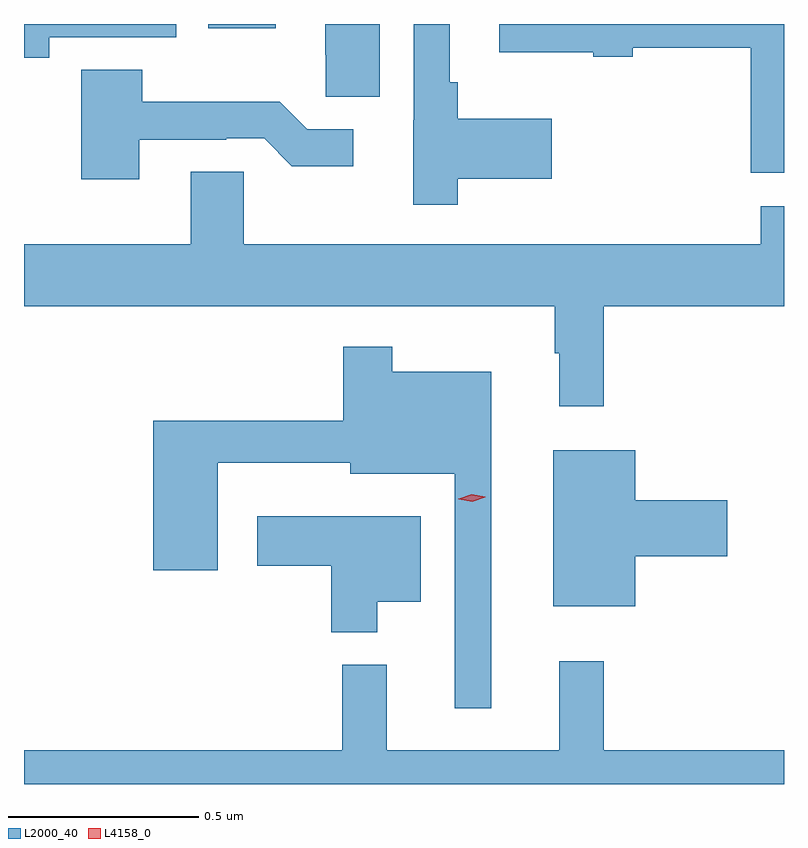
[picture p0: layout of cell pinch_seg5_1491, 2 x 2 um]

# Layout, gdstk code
import gdstk
lib = gdstk.Library(unit=1e-6, precision=1e-09)
def R(c, l, rs):  # rectangles x0, y0, x1, y1
    for r in rs: c.add(gdstk.rectangle(r[:2], r[2:], *l))
def P(c, l, *ps):  # polygons
    for p in ps: c.add(gdstk.Polygon(p, *l))
L2000_40 = (2000, 40)
L4158_0 = (4158, 0)

pinch_seg5_1491 = lib.new_cell('pinch_seg5_1491')
R(pinch_seg5_1491, L2000_40, [(157.485,890.792,157.663,890.803)])
P(pinch_seg5_1491, L2000_40, [(158.141,890.396),(158.389,890.396),(158.389,890.554),(158.141,890.554),(158.141,890.65),(158.121,890.65),(158.121,890.803),(158.025,890.803),(158.025,890.55),(158.024,890.55),(158.024,890.328),(158.141,890.328)],
  [(157.936,890.803),(157.793,890.803),(157.793,890.722),(157.794,890.722),(157.794,890.611),(157.936,890.611)],
  [(157.066,890.768),(157.4,890.768),(157.4,890.803),(157,890.803),(157,890.714),(157.066,890.714)],
  [(159,890.803),(158.25,890.803),(158.25,890.729),(158.498,890.729),(158.498,890.717),(158.602,890.717),(158.602,890.74),(158.912,890.74),(158.912,890.411),(159,890.411)],
  [(157.303,890.499),(157.532,890.499),(157.532,890.502),(157.632,890.502),(157.705,890.429),(157.867,890.429),(157.867,890.526),(157.746,890.526),(157.673,890.599),(157.311,890.599),(157.311,890.683),(157.151,890.683),(157.151,890.394),(157.303,890.394)],
  [(158.525,890.06),(159,890.06),(159,890.323),(158.939,890.323),(158.939,890.224),(157.578,890.224),(157.578,890.414),(157.439,890.414),(157.439,890.224),(157,890.224),(157,890.06),(158.397,890.06),(158.397,889.937),(158.408,889.937),(158.408,889.797),(158.525,889.797)],
  [(158.23,889.888),(157.969,889.888),(157.969,889.954),(157.84,889.954),(157.84,889.759),(157.34,889.759),(157.34,889.365),(157.51,889.365),(157.51,889.649),(157.859,889.649),(157.859,889.619),(158.133,889.619),(158.133,889.002),(158.23,889.002)],
  [(158.608,889.403),(158.851,889.403),(158.851,889.55),(158.608,889.55),(158.608,889.681),(158.393,889.681),(158.393,889.271),(158.608,889.271)],
  [(157.93,889.283),(158.044,889.283),(158.044,889.507),(157.614,889.507),(157.614,889.378),(157.808,889.378),(157.808,889.202),(157.93,889.202)],
  [(159,888.892),(158.525,888.892),(158.525,889.126),(158.408,889.126),(158.408,888.892),(157.955,888.892),(157.955,889.117),(157.837,889.117),(157.837,888.892),(157,888.892),(157,888.803),(159,888.803)])
P(pinch_seg5_1491, L4158_0, [(158.18,889.546),(158.144,889.553),(158.143,889.554),(158.144,889.554),(158.178,889.566),(158.214,889.559),(158.214,889.559),(158.214,889.558)])

lib.write_gds('pinch_seg5_1491.gds')
